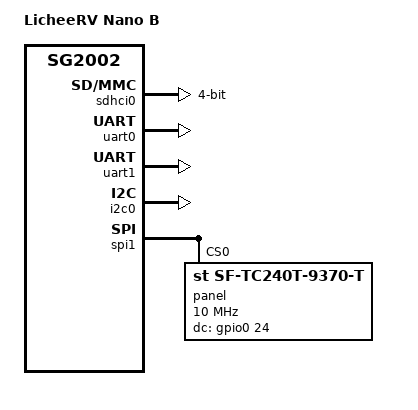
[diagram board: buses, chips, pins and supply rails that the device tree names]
// SPDX-License-Identifier: (GPL-2.0 OR MIT)
/*
 * Copyright (C) 2024 Thomas Bonnefille <thomas.bonnefille@bootlin.com>
 */

/dts-v1/;

#include "sg2002.dtsi"

/ {
	model = "LicheeRV Nano B";
	compatible = "sipeed,licheerv-nano-b", "sipeed,licheerv-nano", "sophgo,sg2002";

	aliases {
		gpio0 = &gpio0;
		gpio1 = &gpio1;
		gpio2 = &gpio2;
		gpio3 = &gpio3;
		serial0 = &uart0;
		serial1 = &uart1;
		serial2 = &uart2;
		serial3 = &uart3;
		serial4 = &uart4;
	};

	chosen {
		stdout-path = "serial0:115200n8";
	};
};

&osc {
	clock-frequency = <25000000>;
};

&sdhci0 {
	status = "okay";
	bus-width = <4>;
	no-1-8-v;
	no-mmc;
	no-sdio;
};

&uart0 {
	status = "okay";
};

&uart1 {
	status = "okay";
};

&i2c0 {
	status = "okay";
};

&spi1 {
	//compatible = "rohm,dh2228fv";
	status = "okay";

	//num-cs = <1>;
	//cs-gpios = <&porta 24 0>;

	panel@0 {
		compatible = "st,sf-tc240t-9370-t", "ilitek,ili9341";
		reg = <0>;
		dc-gpios = <&gpio0 24 0>;
		spi-max-frequency = <10000000>;
		buswidth = <8>;
		status = "okay";
	};

};
